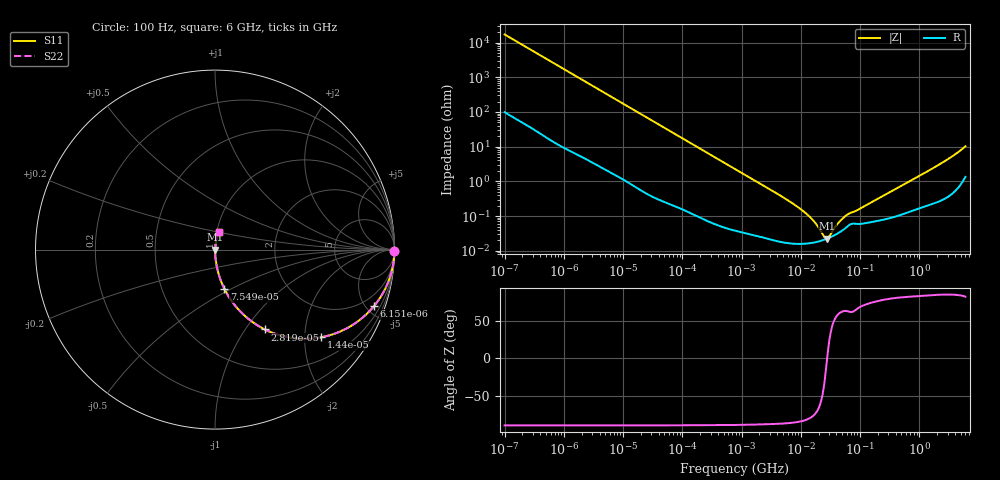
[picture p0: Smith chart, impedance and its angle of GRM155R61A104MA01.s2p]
!Murata Part Number: GRM155R61A104MA01
!These Parameters are Measured in Series Mode Connection
!Data Generated on Mar 30, 2021
!  o--ll--o
!Port1  Port2
!  o------o
!Operation Temp=25[degC], DC Bias Voltage=0[V]
!Freq. Start=100[Hz] Stop=6[GHz] 401[Steps]
# Hz S RI R 50
!Freq.(Hz) S11(Real) S11(Imag) S21(Real) S21(Imag) S12(Real) S12(Imag) S22(Real) S22(Imag)
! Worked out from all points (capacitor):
!   401 points, 100 Hz to 6 GHz, reference 50 ohm
!   read as one part in series: C = 93 nF near 109 Hz
!   lowest |Z| = 22.5 mohm at 27.84 MHz (marker M1)
!   series resonance near 27.82 MHz, so ESL is about 350 pH
!   S11 on the Smith chart (normalised r, x): 100 Hz: open; 6.151 kHz: 1.04, -5.64; 14.4 kHz: 1.02, -2.42; 28.19 kHz: 1.01, -1.24; 75.5 kHz: 1.00, -0.46; 6 GHz: 1.03, +0.20
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100  0.9999 -0.00585  6.8e-05 0.00585  6.8e-05 0.00585  0.9999 -0.00585
627  0.9985 -0.0364  0.00152 0.0364  0.00152 0.0364  0.9985 -0.0364
2008  0.986 -0.1146  0.014 0.1146  0.014 0.1146  0.986 -0.1146
6151  0.8867 -0.3138  0.1133 0.3138  0.1133 0.3138  0.8867 -0.3138
9204  0.7794 -0.4114  0.2206 0.4114  0.2206 0.4114  0.7794 -0.4114
14402  0.5931 -0.4881  0.4069 0.4881  0.4069 0.4881  0.5931 -0.4881
28191  0.2783 -0.445  0.7217 0.445  0.7217 0.445  0.2783 -0.445
40335  0.1596 -0.3629  0.8404 0.3629  0.8404 0.3629  0.1596 -0.3629
75495  0.0527 -0.2193  0.9473 0.2193  0.9473 0.2193  0.0527 -0.2193
202169  0.0084 -0.0863  0.9916 0.0863  0.9916 0.0863  0.0084 -0.0863
774597  0.000902 -0.0228  0.9991 0.0228  0.9991 0.0228  0.000902 -0.0228
6644369  0.000169 -0.00256  0.9998 0.00256  0.9998 0.00256  0.000169 -0.00256
1.087309e7  0.000161 -0.0014  0.9998 0.0014  0.9998 0.0014  0.000161 -0.0014
1.555665e7  0.00017 -0.000791  0.9998 0.000791  0.9998 0.000791  0.00017 -0.000791
2.434276e7  0.000206 -0.000169  0.9998 0.000169  0.9998 0.000169  0.000206 -0.000169
2.784235e7  0.000225 1.2e-06  0.9998 -1.2e-06  0.9998 -1.2e-06  0.000225 1.2e-06
3.045065e7  0.00024 0.000113  0.9998 -0.000113  0.9998 -0.000113  0.00024 0.000113
4.35672e7  0.00033 0.000561  0.9997 -0.000561  0.9997 -0.000561  0.00033 0.000561
5.960426e7  0.000483 0.000957  0.9995 -0.000957  0.9995 -0.000957  0.000483 0.000957
3.124326e8  0.000887 0.00472  0.9991 -0.00472  0.9991 -0.00472  0.000887 0.00472
2.142435e9  0.00352 0.0299  0.9965 -0.0299  0.9965 -0.0299  0.00352 0.0299
6e9  0.0232 0.0984  0.9768 -0.0984  0.9768 -0.0984  0.0232 0.0984
